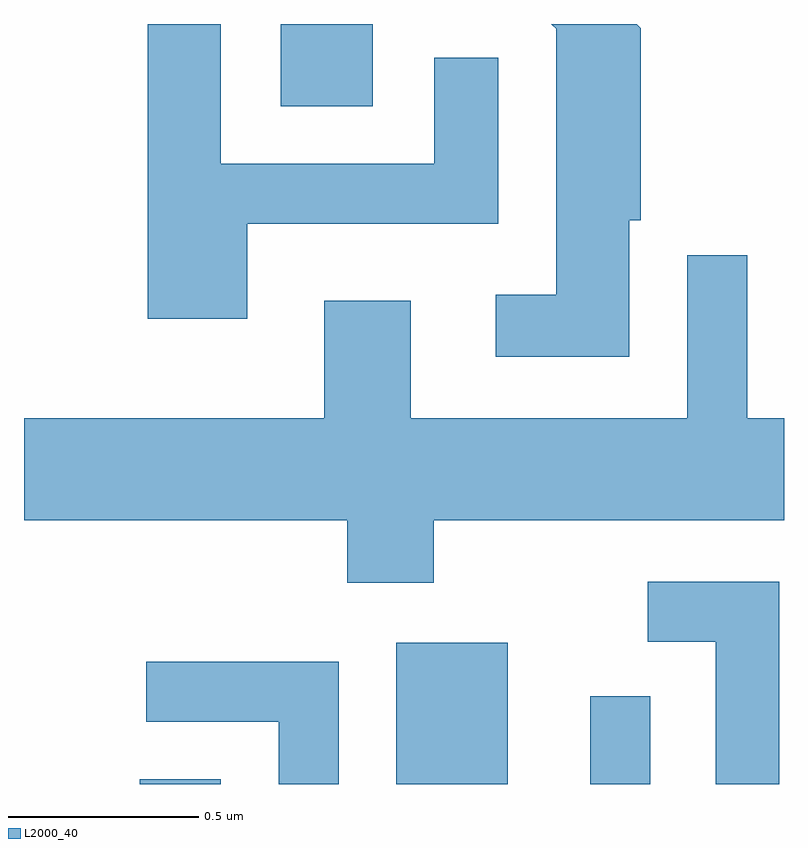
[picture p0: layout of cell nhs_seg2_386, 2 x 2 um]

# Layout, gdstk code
import gdstk
lib = gdstk.Library(unit=1e-6, precision=1e-09)
def R(c, l, rs):  # rectangles x0, y0, x1, y1
    for r in rs: c.add(gdstk.rectangle(r[:2], r[2:], *l))
def P(c, l, *ps):  # polygons
    for p in ps: c.add(gdstk.Polygon(p, *l))
L2000_40 = (2000, 40)

nhs_seg2_386 = lib.new_cell('nhs_seg2_386')
R(nhs_seg2_386, L2000_40, [(187.916,1089.802,188.129,1089.814), (188.591,1089.802,188.884,1090.174), (189.101,1089.802,189.259,1090.033), (188.286,1091.586,188.529,1091.802)])
P(nhs_seg2_386, L2000_40, [(189.204,1091.286),(189.234,1091.286),(189.234,1091.791),(189.224,1091.801),(189.224,1091.802),(188.998,1091.802),(189.011,1091.789),(189.011,1091.089),(188.853,1091.089),(188.853,1090.926),(189.204,1090.926)],
  [(188.199,1091.276),(188.859,1091.276),(188.859,1091.713),(188.691,1091.713),(188.691,1091.434),(188.129,1091.434),(188.129,1091.802),(187.936,1091.802),(187.936,1091.026),(188.199,1091.026)],
  [(188.689,1090.496),(189.611,1090.496),(189.611,1090.764),(189.514,1090.764),(189.514,1091.193),(189.356,1091.193),(189.356,1090.764),(188.629,1090.764),(188.629,1091.074),(188.401,1091.074),(188.401,1090.764),(187.611,1090.764),(187.611,1090.496),(188.461,1090.496),(188.461,1090.331),(188.689,1090.331)],
  [(189.599,1090.334),(189.253,1090.334),(189.253,1090.176),(189.431,1090.176),(189.431,1089.802),(189.599,1089.802)],
  [(188.439,1090.124),(187.933,1090.124),(187.933,1089.966),(188.281,1089.966),(188.281,1089.802),(188.439,1089.802)])

lib.write_gds('nhs_seg2_386.gds')
